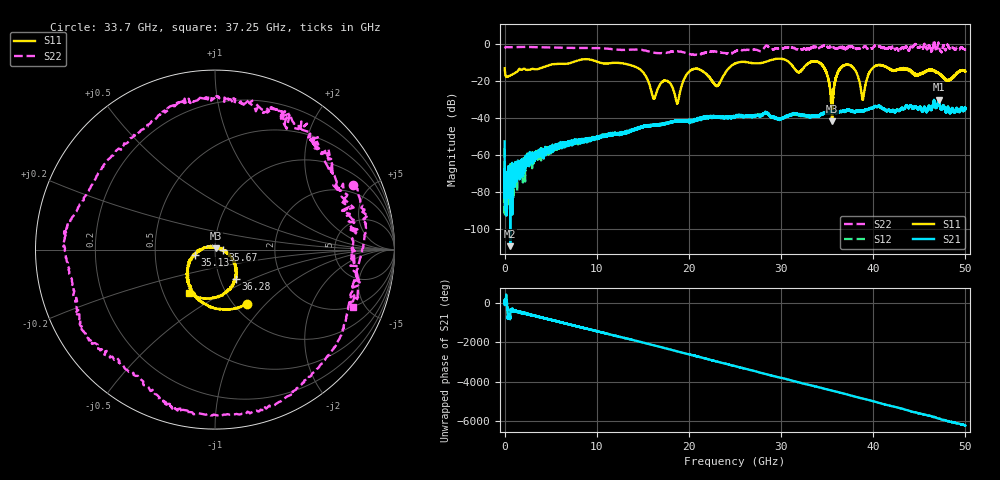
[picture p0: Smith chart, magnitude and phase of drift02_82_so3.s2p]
!Created with skrf (http://scikit-rf.org).
# Hz S RI R 50.0
!freq ReS11 ImS11 ReS21 ImS21 ReS12 ImS12 ReS22 ImS22
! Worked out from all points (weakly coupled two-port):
!   10001 points, 300 kHz to 50 GHz, reference 50 ohm
!   highest |S21| = -29.87 dB at 47.11 GHz (marker M1); lowest = -109.4 dB at 615.3 MHz (marker M2)
!   lowest |S11| = -41.6 dB at 35.54 GHz (marker M3), VSWR 1.02, Z = 50.4 + j0.733 ohm
!   |S11| at or under -10 dB: start of sweep to 7.178 GHz; 12.37 GHz to 25.18 GHz (12.81 GHz wide, 68.2 % of centre); 34.21 GHz to end of sweep (the widest 3 of 17)
!   |S22| runs from -5.7 to 2.2 dB; largest |S21 - S12| = 0.0036
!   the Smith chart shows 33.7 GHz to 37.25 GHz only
!   S11 on the Smith chart (normalised r, x): 33.7 GHz: 1.14, -0.79; 35.13 GHz: 0.80, -0.05; 35.67 GHz: 1.09, -0.00; 36.28 GHz: 1.19, -0.40; 37.25 GHz: 0.67, -0.36
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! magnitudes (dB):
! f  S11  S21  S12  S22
! 300 kHz  -12.9  -52.6  -56.5  -2.1
! 255.3 MHz  -17.6  -89.4  -70.9  -1.4
! 615.3 MHz  -16.8  -109.4  -71.4  -1.5
! 8.335 GHz  -8.2  -52.2  -52.5  -1.9
! 14.03 GHz  -11.8  -46.4  -46.5  -2.8
! 16.67 GHz  -23.5  -43.8  -43.7  -4.7
! 18.74 GHz  -32.0  -41.6  -41.5  -3.7
! 20.25 GHz  -13.9  -41.2  -41.4  -5.4
! 23.04 GHz  -22.5  -39.3  -39.2  -4.1
! 25 GHz  -10.4  -39.2  -39.5  -3.9
! 33.34 GHz  -9.2  -38.8  -38.9  -1.6
! 33.7 GHz  -9.1  -38.8  -38.7  -1.4
! 35.13 GHz  -18.7  -36.8  -37.1  -1.6
! 35.54 GHz  -41.6  -36.7  -36.8  -1.7
! 35.67 GHz  -27.2  -36.8  -36.8  -1.6
! 36.28 GHz  -14.0  -36.5  -36.7  -1.6
! 37.25 GHz  -11.0  -35.7  -35.5  -1.6
! 38.86 GHz  -29.9  -35.9  -36.2  -1.3
! 39.96 GHz  -12.7  -34.3  -34.4  -1.9
! 41.67 GHz  -12.9  -35.5  -35.5  -2.0
! 47.11 GHz  -15.5  -29.9  -30.4  0.7
! 50 GHz  -14.5  -34.5  -35.1  -2.7
